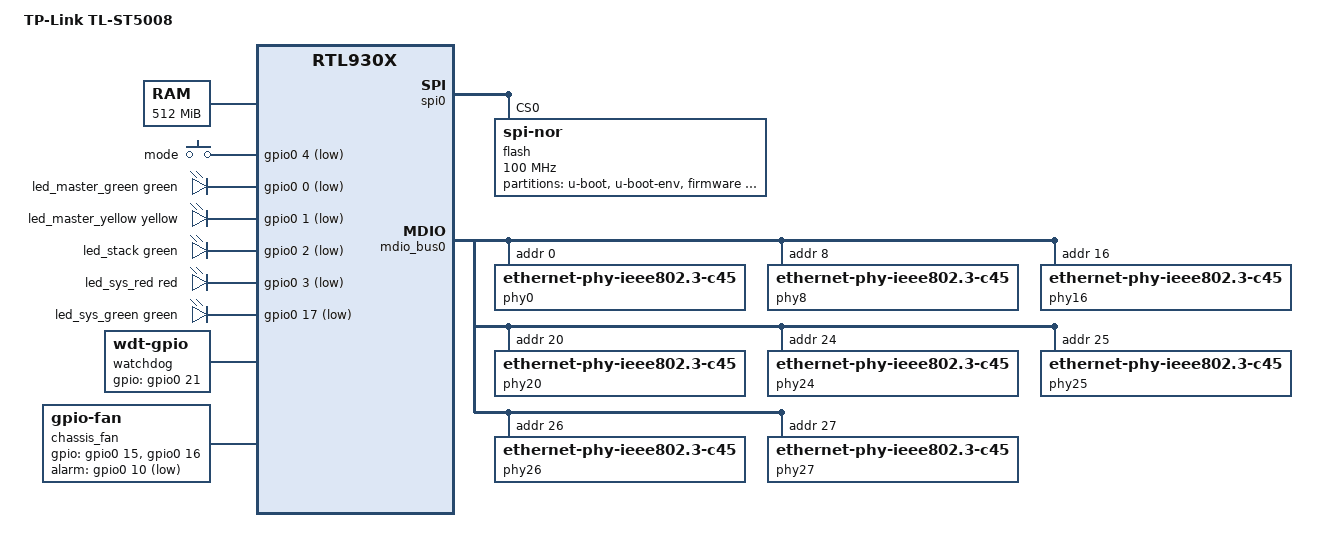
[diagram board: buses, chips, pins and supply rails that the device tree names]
// SPDX-License-Identifier: GPL-2.0-or-later

#include "rtl930x.dtsi"

#include <dt-bindings/input/input.h>
#include <dt-bindings/gpio/gpio.h>
#include <dt-bindings/leds/common.h>
#include <dt-bindings/thermal/thermal.h>

/ {
	compatible = "tplink,tl-st5008", "realtek,rtl930x-soc";
	model = "TP-Link TL-ST5008";

	memory@0 {
		device_type = "memory";
		reg = <0x00000000 0x10000000>, /* first 256 MiB */
		      <0x20000000 0x10000000>; /* remaining 256 MiB */
	};

	aliases {
		led-boot = &led_sys_red;
		led-failsafe = &led_master_yellow;
		led-running = &led_sys_green;
		led-upgrade = &led_stack;
		label-mac-device = &ethernet0;
	};

	chosen {
		stdout-path = "serial0:115200n8";
	};

	keys {
		compatible = "gpio-keys";

		button-mode {
			label = "mode";
			gpios = <&gpio0 4 GPIO_ACTIVE_LOW>;
			debounce-interval = <50>;
			linux,code = <BTN_0>;
		};
	};

	leds {
		compatible = "gpio-leds";
		pinctrl-names = "default";
		pinctrl-0 = <&pinmux_disable_sys_led>, <&pinmux_enable_usb_led>;

		led_master_green: led-master-green {
			gpios = <&gpio0 0 GPIO_ACTIVE_LOW>;
			color = <LED_COLOR_ID_GREEN>;
		};

		led_master_yellow: led-master-yellow {
			gpios = <&gpio0 1 GPIO_ACTIVE_LOW>;
			color = <LED_COLOR_ID_YELLOW>;
		};

		led_stack: led-stack {
			gpios = <&gpio0 2 GPIO_ACTIVE_LOW>;
			color = <LED_COLOR_ID_GREEN>;
		};

		led_sys_red: led-system-red {
			gpios = <&gpio0 3 GPIO_ACTIVE_LOW>;
			color = <LED_COLOR_ID_RED>;
			function = LED_FUNCTION_BOOT;
		};

		led_sys_green: led-system-green {
			gpios = <&gpio0 17 GPIO_ACTIVE_LOW>;
			color = <LED_COLOR_ID_GREEN>;
			function = LED_FUNCTION_STATUS;
		};
	};

	led_set {
		compatible = "realtek,rtl9300-leds";

		led_set0 = <(RTL93XX_LED_SET_1G | RTL93XX_LED_SET_100M |
			     RTL93XX_LED_SET_LINK | RTL93XX_LED_SET_ACT)
			     (RTL93XX_LED_SET_5G | RTL93XX_LED_SET_2P5G |
			     RTL93XX_LED_SET_LINK | RTL93XX_LED_SET_ACT)
			     (RTL93XX_LED_SET_10G | RTL93XX_LED_SET_LINK |
			     RTL93XX_LED_SET_ACT)>;
	};

	watchdog {
		compatible = "linux,wdt-gpio";
		gpios = <&gpio0 21 GPIO_ACTIVE_HIGH>;
		hw_algo = "toggle";
		hw_margin_ms = <1200>;
		always-running;
	};

	thermal-zones {
		phy0-thermal {
			/* Poll every 10 seconds */
			polling-delay-passive = <10000>;
			polling-delay = <10000>;
			thermal-sensors = <&phy0>;

			trips {
				phy0_trip0: phy0-trip0 {
					/* At 80 degrees turn on fan */
					temperature = <80000>;
					hysteresis = <1000>;
					type = "active";
				};

				phy0-trip1 {
					/* At 108 degrees phys exceed spec */
					temperature = <108000>;
					hysteresis = <5000>;
					type = "critical";
				};
			};

			cooling-maps {
				map {
					trip = <&phy0_trip0>;
					cooling-device = <&chassis_fan THERMAL_NO_LIMIT THERMAL_NO_LIMIT>;
				};
			};
		};

		phy8-thermal {
			/* Poll every 10 seconds */
			polling-delay-passive = <10000>;
			polling-delay = <10000>;
			thermal-sensors = <&phy8>;

			trips {
				phy8_trip0: phy8-trip0 {
					/* At 80 degrees turn on fan */
					temperature = <80000>;
					hysteresis = <1000>;
					type = "active";
				};

				phy8-trip1 {
					/* At 108 degrees phys exceed spec */
					temperature = <108000>;
					hysteresis = <5000>;
					type = "critical";
				};
			};

			cooling-maps {
				map {
					trip = <&phy8_trip0>;
					cooling-device = <&chassis_fan THERMAL_NO_LIMIT THERMAL_NO_LIMIT>;
				};
			};
		};

		phy16-thermal {
			/* Poll every 10 seconds */
			polling-delay-passive = <10000>;
			polling-delay = <10000>;
			thermal-sensors = <&phy16>;

			trips {
				phy16_trip0: phy16-trip0 {
					/* At 80 degrees turn on fan */
					temperature = <80000>;
					hysteresis = <1000>;
					type = "active";
				};

				phy16-trip1 {
					/* At 108 degrees phys exceed spec */
					temperature = <108000>;
					hysteresis = <5000>;
					type = "critical";
				};
			};

			cooling-maps {
				map {
					trip = <&phy16_trip0>;
					cooling-device = <&chassis_fan THERMAL_NO_LIMIT THERMAL_NO_LIMIT>;
				};
			};
		};

		phy20-thermal {
			/* Poll every 10 seconds */
			polling-delay-passive = <10000>;
			polling-delay = <10000>;
			thermal-sensors = <&phy20>;

			trips {
				phy20_trip0: phy20-trip0 {
					/* At 80 degrees turn on fan */
					temperature = <80000>;
					hysteresis = <1000>;
					type = "active";
				};

				phy20-trip1 {
					/* At 108 degrees phys exceed spec */
					temperature = <108000>;
					hysteresis = <5000>;
					type = "critical";
				};
			};

			cooling-maps {
				map {
					trip = <&phy20_trip0>;
					cooling-device = <&chassis_fan THERMAL_NO_LIMIT THERMAL_NO_LIMIT>;
				};
			};
		};

		phy24-thermal {
			/* Poll every 10 seconds */
			polling-delay-passive = <10000>;
			polling-delay = <10000>;
			thermal-sensors = <&phy24>;

			trips {
				phy24_trip0: phy24-trip0 {
					/* At 80 degrees turn on fan */
					temperature = <80000>;
					hysteresis = <1000>;
					type = "active";
				};

				phy24-trip1 {
					/* At 108 degrees phys exceed spec */
					temperature = <108000>;
					hysteresis = <5000>;
					type = "critical";
				};
			};

			cooling-maps {
				map {
					trip = <&phy24_trip0>;
					cooling-device = <&chassis_fan THERMAL_NO_LIMIT THERMAL_NO_LIMIT>;
				};
			};
		};

		phy25-thermal {
			/* Poll every 10 seconds */
			polling-delay-passive = <10000>;
			polling-delay = <10000>;
			thermal-sensors = <&phy25>;

			trips {
				phy25_trip0: phy25-trip0 {
					/* At 80 degrees turn on fan */
					temperature = <80000>;
					hysteresis = <1000>;
					type = "active";
				};

				phy25-trip1 {
					/* At 108 degrees phys exceed spec */
					temperature = <108000>;
					hysteresis = <5000>;
					type = "critical";
				};
			};

			cooling-maps {
				map {
					trip = <&phy25_trip0>;
					cooling-device = <&chassis_fan THERMAL_NO_LIMIT THERMAL_NO_LIMIT>;
				};
			};
		};

		phy26-thermal {
			/* Poll every 10 seconds */
			polling-delay-passive = <10000>;
			polling-delay = <10000>;
			thermal-sensors = <&phy26>;

			trips {
				phy26_trip0: phy26-trip0 {
					/* At 80 degrees turn on fan */
					temperature = <80000>;
					hysteresis = <1000>;
					type = "active";
				};

				phy26-trip1 {
					/* At 108 degrees phys exceed spec */
					temperature = <108000>;
					hysteresis = <5000>;
					type = "critical";
				};
			};

			cooling-maps {
				map {
					trip = <&phy26_trip0>;
					cooling-device = <&chassis_fan THERMAL_NO_LIMIT THERMAL_NO_LIMIT>;
				};
			};
		};

		phy27-thermal {
			/* Poll every 10 seconds */
			polling-delay-passive = <10000>;
			polling-delay = <10000>;
			thermal-sensors = <&phy27>;

			trips {
				phy27_trip0: phy27-trip0 {
					/* At 80 degrees turn on fan */
					temperature = <80000>;
					hysteresis = <1000>;
					type = "active";
				};

				phy27-trip1 {
					/* At 108 degrees phys exceed spec */
					temperature = <108000>;
					hysteresis = <5000>;
					type = "critical";
				};
			};

			cooling-maps {
				map {
					trip = <&phy27_trip0>;
					cooling-device = <&chassis_fan THERMAL_NO_LIMIT THERMAL_NO_LIMIT>;
				};
			};
		};
	};

	chassis_fan: gpio-fan {
		compatible = "gpio-fan";
		gpios = <&gpio0 15 GPIO_ACTIVE_HIGH>, <&gpio0 16 GPIO_ACTIVE_HIGH>;
		alarm-gpios = <&gpio0 10 GPIO_ACTIVE_LOW>;
		gpio-fan,speed-map = <0 0>, <1 1>, <2 2>, <3 3>;
		#cooling-cells = <2>;
	};
};

&spi0 {
	status = "okay";

	flash@0 {
		compatible = "jedec,spi-nor";
		reg = <0>;
		spi-max-frequency = <100000000>;

		partitions {
			compatible = "fixed-partitions";
			#address-cells = <1>;
			#size-cells = <1>;

			partition@0 {
				label = "u-boot";
				reg = <0x0 0xe0000>;
				read-only;
			};

			partition@e0000 {
				label = "u-boot-env";
				reg = <0xe0000 0x20000>;
			};

			partition@100000 {
				compatible = "openwrt,uimage", "denx,uimage";
				label = "firmware";
				reg = <0x100000 0x1e00000>;
				openwrt,ih-magic = <0x93030000>;
			};

			partition@1f00000 {
				label = "para";
				reg = <0x1f00000 0x100000>;
				read-only;

				nvmem-layout {
					compatible = "fixed-layout";
					#address-cells = <1>;
					#size-cells = <1>;

					factory_macaddr: macaddr@fdff4 {
						reg = <0xfdff4 0x6>;
					};
				};
			};
		};
	};
};

&ethernet0 {
	nvmem-cells = <&factory_macaddr 0>;
	nvmem-cell-names = "mac-address";
};

&mdio_bus0 {
	phy0: ethernet-phy@0 {
		reg = <0>;
		compatible = "ethernet-phy-ieee802.3-c45";
		rtl9300,smi-address = <0 0>;
		#thermal-sensor-cells = <0>;
	};

	phy8: ethernet-phy@8 {
		reg = <8>;
		compatible = "ethernet-phy-ieee802.3-c45";
		rtl9300,smi-address = <0 1>;
		#thermal-sensor-cells = <0>;
	};

	phy16: ethernet-phy@16 {
		reg = <16>;
		compatible = "ethernet-phy-ieee802.3-c45";
		rtl9300,smi-address = <1 2>;
		#thermal-sensor-cells = <0>;
	};

	phy20: ethernet-phy@20 {
		reg = <20>;
		compatible = "ethernet-phy-ieee802.3-c45";
		rtl9300,smi-address = <1 3>;
		#thermal-sensor-cells = <0>;
	};

	phy24: ethernet-phy@24 {
		reg = <24>;
		compatible = "ethernet-phy-ieee802.3-c45";
		rtl9300,smi-address = <2 4>;
		#thermal-sensor-cells = <0>;
	};

	phy25: ethernet-phy@25 {
		reg = <25>;
		compatible = "ethernet-phy-ieee802.3-c45";
		rtl9300,smi-address = <2 5>;
		#thermal-sensor-cells = <0>;
	};

	phy26: ethernet-phy@26 {
		reg = <26>;
		compatible = "ethernet-phy-ieee802.3-c45";
		rtl9300,smi-address = <3 6>;
		#thermal-sensor-cells = <0>;
	};

	phy27: ethernet-phy@27 {
		reg = <27>;
		compatible = "ethernet-phy-ieee802.3-c45";
		rtl9300,smi-address = <3 7>;
		#thermal-sensor-cells = <0>;
	};
};

&serdes2 {
	realtek,pnswap-tx;
};

&serdes3 {
	realtek,pnswap-rx;
};

&serdes4 {
	realtek,pnswap-tx;
};

&serdes5 {
	realtek,pnswap-rx;
};

&serdes6 {
	realtek,pnswap-tx;
};

&serdes7 {
	realtek,pnswap-rx;
};

&serdes8 {
	realtek,pnswap-tx;
};

&serdes9 {
	realtek,pnswap-rx;
};

&switch0 {
	ports {
		#address-cells = <1>;
		#size-cells = <0>;

		SWITCH_PORT_SDS(0, 1, 2, usxgmii)
		SWITCH_PORT_SDS(8, 2, 3, usxgmii)
		SWITCH_PORT_SDS(16, 3, 4, usxgmii)
		SWITCH_PORT_SDS(20, 4, 5, usxgmii)
		SWITCH_PORT_SDS(24, 5, 6, usxgmii)
		SWITCH_PORT_SDS(25, 6, 7, usxgmii)
		SWITCH_PORT_SDS(26, 7, 8, usxgmii)
		SWITCH_PORT_SDS(27, 8, 9, usxgmii)

		port@28 {
			ethernet = <&ethernet0>;
			reg = <28>;
			phy-mode = "internal";

			fixed-link {
				speed = <1000>;
				full-duplex;
			};
		};
	};
};
